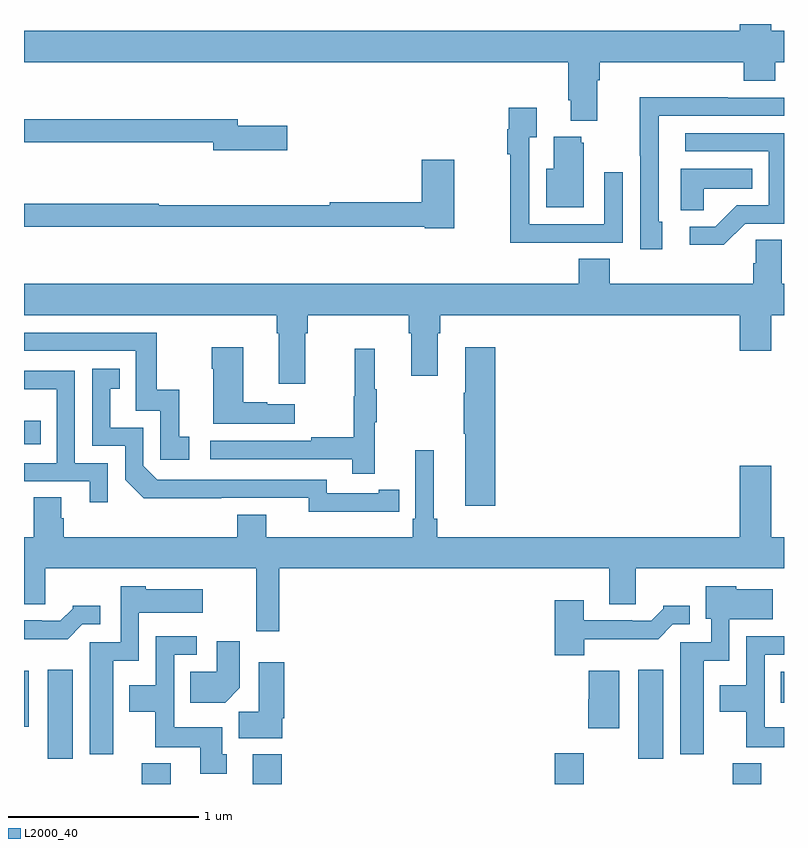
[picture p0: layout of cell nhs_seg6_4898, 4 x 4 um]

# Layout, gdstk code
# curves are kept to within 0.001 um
import gdstk
lib = gdstk.Library(unit=1e-6, precision=1e-09)
def R(c, l, rs):  # rectangles x0, y0, x1, y1
    for r in rs: c.add(gdstk.rectangle(r[:2], r[2:], *l))
def P(c, l, *ps):  # polygons
    for p in ps: c.add(gdstk.Polygon(p, *l))
L2000_40 = (2000, 40)

nhs_seg6_4898 = lib.new_cell('nhs_seg6_4898')
R(nhs_seg6_4898, L2000_40, [(401.621,979.5,401.773,979.609), (402.203,979.5,402.356,979.657), (403.793,979.5,403.945,979.663), (404.729,979.5,404.881,979.609), (401.126,979.632,401.257,980.101), (404.234,979.632,404.365,980.101), (401,979.802,401.026,980.095), (404.983,979.928,405,980.092), (401,981.288,401.087,981.411)])
P(nhs_seg6_4898, L2000_40, [(404.017,983.204),(404.03,983.204),(404.03,983.3),(404.789,983.3),(404.789,983.201),(404.954,983.201),(404.954,983.3),(405,983.3),(405,983.464),(404.932,983.464),(404.932,983.5),(404.768,983.5),(404.768,983.464),(401,983.464),(401,983.3),(403.865,983.3),(403.865,983.098),(403.877,983.098),(403.877,982.991),(404.017,982.991)],
  [(404.359,982.458),(404.34,982.458),(404.34,983.016),(405,983.016),(405,983.112),(404.705,983.112),(404.705,983.114),(404.242,983.114),(404.242,982.807),(404.244,982.807),(404.244,982.314),(404.359,982.314)],
  [(403.835,982.35),(404.151,982.35),(404.151,982.72),(404.055,982.72),(404.055,982.446),(403.659,982.446),(403.659,982.903),(403.699,982.903),(403.699,983.059),(403.551,983.059),(403.551,982.946),(403.543,982.946),(403.543,982.814),(403.558,982.814),(403.558,982.349),(403.835,982.349)],
  [(402.385,982.965),(402.124,982.965),(402.124,982.999),(401,982.999),(401,982.878),(401.996,982.878),(401.996,982.835),(402.385,982.835)],
  [(404.796,982.449),(405,982.449),(405,982.926),(404.481,982.926),(404.481,982.83),(404.919,982.83),(404.919,982.545),(404.75,982.545),(404.639,982.434),(404.505,982.434),(404.505,982.337),(404.683,982.337)],
  [(403.945,982.875),(403.934,982.875),(403.934,982.906),(403.787,982.906),(403.787,982.738),(403.748,982.738),(403.748,982.535),(403.945,982.535)],
  [(403.264,982.786),(403.094,982.786),(403.094,982.562),(402.61,982.562),(402.61,982.547),(401.71,982.547),(401.71,982.555),(401,982.555),(401,982.434),(403.11,982.434),(403.11,982.426),(403.264,982.426)],
  [(404.577,982.634),(404.834,982.634),(404.834,982.738),(404.456,982.738),(404.456,982.519),(404.577,982.519)],
  [(402.481,981.872),(402.494,981.872),(402.494,981.968),(403.025,981.968),(403.025,981.872),(403.037,981.872),(403.037,981.648),(403.177,981.648),(403.177,981.872),(403.19,981.872),(403.19,981.968),(404.768,981.968),(404.768,981.78),(404.932,981.78),(404.932,981.968),(405,981.968),(405,982.132),(404.989,982.132),(404.989,982.364),(404.85,982.364),(404.85,982.241),(404.837,982.241),(404.837,982.132),(404.084,982.132),(404.084,982.265),(403.919,982.265),(403.919,982.132),(401,982.132),(401,981.968),(402.329,981.968),(402.329,981.872),(402.341,981.872),(402.341,981.606),(402.481,981.606)],
  [(401.869,981.327),(401.816,981.327),(401.816,981.574),(401.698,981.574),(401.698,981.876),(401,981.876),(401,981.78),(401.589,981.78),(401.589,981.465),(401.718,981.465),(401.718,981.207),(401.869,981.207)],
  [(402.424,981.499),(402.281,981.499),(402.281,981.509),(402.154,981.509),(402.154,981.799),(401.989,981.799),(401.989,981.686),(401.996,981.686),(401.996,981.395),(402.424,981.395)],
  [(403.481,981.799),(403.322,981.799),(403.322,981.56),(403.315,981.56),(403.315,981.343),(403.322,981.343),(403.322,980.964),(403.481,980.964)],
  [(402.845,981.403),(402.856,981.403),(402.856,981.577),(402.845,981.577),(402.845,981.79),(402.742,981.79),(402.742,981.54),(402.735,981.54),(402.735,981.326),(402.511,981.326),(402.511,981.306),(401.979,981.306),(401.979,981.21),(402.727,981.21),(402.727,981.132),(402.845,981.132)],
  [(402.866,980.934),(402.974,980.934),(402.974,981.05),(402.866,981.05),(402.866,981.03),(402.594,981.03),(402.594,981.102),(401.7,981.102),(401.628,981.174),(401.628,981.375),(401.455,981.375),(401.455,981.579),(401.504,981.579),(401.504,981.685),(401.358,981.685),(401.358,981.279),(401.532,981.279),(401.532,981.102),(401.63,981.005),(402.498,981.006),(402.498,980.933)],
  [(401.442,981.189),(401.268,981.189),(401.268,981.675),(401,981.675),(401,981.578),(401.172,981.578),(401.172,981.189),(401,981.189),(401,981.093),(401.345,981.093),(401.345,980.982),(401.442,980.982)],
  [(402.344,980.636),(404.081,980.636),(404.081,980.446),(404.221,980.446),(404.221,980.636),(405,980.636),(405,980.8),(404.932,980.8),(404.932,981.175),(404.768,981.175),(404.768,980.8),(403.175,980.8),(403.175,980.896),(403.156,980.896),(403.156,981.256),(403.059,981.256),(403.059,980.896),(403.046,980.896),(403.046,980.8),(402.274,980.8),(402.274,980.917),(402.122,980.917),(402.122,980.8),(401.21,980.8),(401.21,980.898),(401.197,980.898),(401.197,981.008),(401.05,981.008),(401.05,980.8),(401,980.8),(401,980.446),(401.113,980.446),(401.113,980.636),(402.223,980.636),(402.223,980.304),(402.344,980.304)],
  [(404.578,980.15),(404.712,980.15),(404.712,980.366),(404.941,980.366),(404.941,980.524),(404.748,980.524),(404.748,980.542),(404.588,980.542),(404.588,980.37),(404.616,980.37),(404.616,980.247),(404.453,980.247),(404.453,979.656),(404.578,979.656)],
  [(401.47,980.15),(401.604,980.15),(401.604,980.402),(401.941,980.402),(401.941,980.524),(401.64,980.524),(401.64,980.542),(401.508,980.542),(401.508,980.247),(401.345,980.247),(401.345,979.656),(401.47,979.656)],
  [(403.948,980.262),(404.337,980.262),(404.415,980.34),(404.503,980.34),(404.503,980.437),(404.364,980.437),(404.364,980.422),(404.3,980.358),(404.201,980.358),(404.201,980.361),(403.945,980.361),(403.945,980.467),(403.793,980.467),(403.793,980.177),(403.948,980.177)],
  [(401.307,980.34),(401.401,980.34),(401.401,980.437),(401.256,980.437),(401.256,980.422),(401.192,980.358),(401.093,980.358),(401.093,980.361),(401,980.361),(401,980.262),(401.229,980.262)],
  [(402.067,979.656),(402.043,979.656),(402.043,979.798),(401.79,979.798),(401.79,980.181),(401.908,980.181),(401.908,980.277),(401.694,980.277),(401.694,980.02),(401.555,980.02),(401.555,979.88),(401.692,979.88),(401.692,979.694),(401.927,979.694),(401.927,979.554),(402.067,979.554)],
  [(405,979.798),(404.898,979.798),(404.898,980.181),(405,980.181),(405,980.277),(404.802,980.277),(404.802,980.02),(404.663,980.02),(404.663,979.88),(404.8,979.88),(404.8,979.694),(405,979.694)],
  [(402.136,980.006),(402.136,980.251),(402.014,980.251),(402.014,980.092),(401.875,980.092),(401.875,979.928),(402.058,979.928)],
  [(402.358,979.846),(402.371,979.846),(402.371,980.14),(402.236,980.14),(402.236,979.88),(402.131,979.88),(402.131,979.742),(402.358,979.742)],
  [(404.134,980.095),(403.972,980.095),(403.972,979.947),(403.97,979.947),(403.97,979.794),(404.134,979.794)])

lib.write_gds('nhs_seg6_4898.gds')
